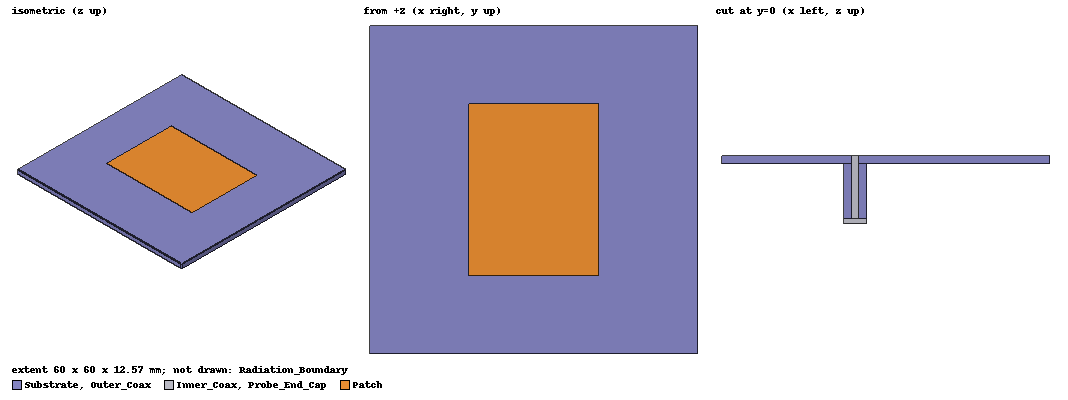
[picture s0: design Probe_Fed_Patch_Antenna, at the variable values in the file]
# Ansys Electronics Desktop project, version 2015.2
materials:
  vacuum: permittivity=1
  FR4_epoxy4.1: permittivity=4.1 dielectric_loss_tangent=0.02
  Teflon (tm): permittivity=2.1 dielectric_loss_tangent=0.001
  pec: conductivity=1e+030

design Probe_Fed_Patch_Antenna (HFSS, DrivenModal, model units mm)
options: Calculate_Lossy_Dielectrics
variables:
  subx = 60mm
  suby = 60mm
  subh = 62mil
  patch_length = 23.7mm
  patch_width = 31.3mm
  probe_feed_x = 5.55mm
  outer_coax_radius = 2.05mm
  probe_length = 10mm
  inner_coax_radius = 0.615mm
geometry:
  Substrate [FR4_epoxy4.1] = box(corner=(-subx/2, -suby/2, 0mm), size=(subx, suby, -subh))
  Patch = rectangle(corner=(-patch_length/2, -patch_width/2, 0mm), x_size=patch_length, y_size=patch_width)
  Outer_Coax [Teflon (tm)] = cylinder(axis=Z, base_centre=(probe_feed_x, 0mm, -subh), radius=outer_coax_radius, height=-probe_length)
  Inner_Coax [pec] = cylinder(axis=Z, base_centre=(probe_feed_x, 0mm, 0mm), radius=inner_coax_radius, height=-probe_length-subh)
  Probe_End_Cap [pec] = cylinder(axis=Z, base_centre=(probe_feed_x, 0mm, -probe_length-subh), radius=outer_coax_radius, height=-1mm)
  Ground_Plane [FR4_epoxy4.1] = object_from(Substrate.face(-z))
  Inner_Coax_1 = Inner_Coax.copy()
  Substrate.subtract(Inner_Coax_1)
  Inner_Coax_2 = Inner_Coax.copy()
  Outer_Coax.subtract(Inner_Coax_2)
  Inner_Coax_3 = Inner_Coax.copy()
  Outer_Coax_1 = Outer_Coax.copy()
  Ground_Plane.subtract(Inner_Coax_3, Outer_Coax_1)
  Radiation_Boundary [vacuum] = sphere(centre=(0mm, 0mm, 0mm), radius=75mm)
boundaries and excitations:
  PerfE1: Perfect E Objects=Patch
  PerfE2: Perfect E Objects=Ground_Plane Faces=Outer_Coax.face(1 of 3)
  Rad1: Radiation Faces=Radiation_Boundary.face(1 of 1)
  1: Wave Port Faces=Outer_Coax.face(2 of 3) NumModes=1 DeembedDist=probe_length Modes{Mode1{CharImp=Zpi}}
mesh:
  initial mesh: GlobalSurfApproximation{SurfDevChoice=0 NormalDevChoice=1 AspectRatioChoice=1 SetFacePreservationLevel=0}
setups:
  Setup1: HfssDriven Frequency=3GHz MaxDeltaS=0.01 MaximumPasses=20 MinimumPasses=1 MinimumConvergedPasses=2 PercentRefinement=30 BasisOrder=1 PortAccuracy=2
    sweep Sweep: 1GHz to 5GHz step 0.001GHz; Type=Interpolating InterpTolerance=0.5 InterpMaxSolns=250 InterpUsePortImped=false
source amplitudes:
  1:1: 1W 0deg
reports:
  Smith Chart: S(1,1) on Setup1 : Sweep [Freq=all]; markers m1 at 3GHz
  VSWR: VSWR(1) vs Freq on Setup1 : Sweep; markers m1 at 3GHz
